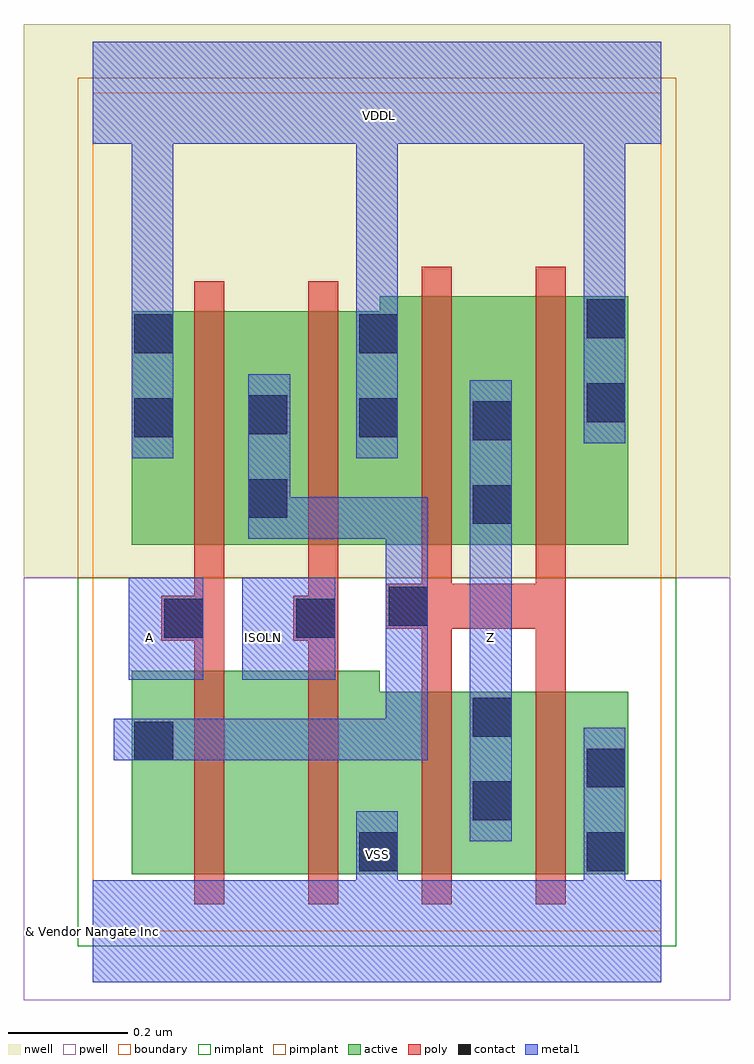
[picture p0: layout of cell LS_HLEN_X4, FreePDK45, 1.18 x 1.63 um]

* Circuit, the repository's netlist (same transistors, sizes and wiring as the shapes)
* 
* ******************************************************************************
* *                                                                            *
* *                   Copyright (C) 2004-2011, Nangate Inc.                    *
* *                           All rights reserved.                             *
* *                                                                            *
* * Nangate and the Nangate logo are trademarks of Nangate Inc.                *
* *                                                                            *
* * All trademarks, logos, software marks, and trade names (collectively the   *
* * "Marks") in this program are proprietary to Nangate or other respective    *
* * owners that have granted Nangate the right and license to use such Marks.  *
* * You are not permitted to use the Marks without the prior written consent   *
* * of Nangate or such third party that may own the Marks.                     *
* *                                                                            *
* * This file has been provided pursuant to a License Agreement containing     *
* * restrictions on its use. This file contains valuable trade secrets and     *
* * proprietary information of Nangate Inc., and is protected by U.S. and      *
* * international laws and/or treaties.                                        *
* *                                                                            *
* * The copyright notice(s) in this file does not indicate actual or intended  *
* * publication of this file.                                                  *
* *                                                                            *
* *     NGLibraryCreator, v2010.08-HR32-SP3-2010-08-05 - build 1009061800      *
* *                                                                            *
* ******************************************************************************
* 
* 
* Running on server08.nangate.com for user Giancarlo Franciscatto (gfr).
* Local time is now Thu, 6 Jan 2011, 19:45:47.
* Main process id is 3320.
*
********************************************************************************
*                                                                              *
* Cellname:   LS_HLEN_X4.                                                      *
*                                                                              *
* Technology: NCSU FreePDK 45nm.                                               *
* Format:     Cdl.                                                             *
*                                                                              *
* Written on server08.nangate.com for user Giancarlo Franciscatto (gfr)        *
* at 19:45:47 on Thu, 6 Jan 2011.                                              *
*                                                                              *
********************************************************************************
.SUBCKT LS_HLEN_X4 A ISOLN Z VDDL VSS
*.PININFO A:I ISOLN:I Z:O VDDL:P VSS:G
*.EQN Z=(A * ISOLN)
M_i_0 net_001 A net_000 VSS NMOS_VTL W=0.340000U L=0.050000U
M_i_5 VSS ISOLN net_001 VSS NMOS_VTL W=0.340000U L=0.050000U
M_i_11 Z net_000 VSS VSS NMOS_VTL W=0.305000U L=0.050000U
M_i_17 VSS net_000 Z VSS NMOS_VTL W=0.305000U L=0.050000U
M_i_23 net_000 A VDDL VDDL PMOS_VTL W=0.390000U L=0.050000U
M_i_30 VDDL ISOLN net_000 VDDL PMOS_VTL W=0.390000U L=0.050000U
M_i_36 Z net_000 VDDL VDDL PMOS_VTL W=0.415000U L=0.050000U
M_i_42 VDDL net_000 Z VDDL PMOS_VTL W=0.415000U L=0.050000U
.ENDS 

********************************************************************************
*
* END
*
********************************************************************************

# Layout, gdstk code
import gdstk
lib = gdstk.Library(unit=1e-6, precision=1e-10)
def R(c, l, rs):  # rectangles x0, y0, x1, y1
    for r in rs: c.add(gdstk.rectangle(r[:2], r[2:], *l))
def P(c, l, *ps):  # polygons
    for p in ps: c.add(gdstk.Polygon(p, *l))
active = (1, 0)
pwell = (2, 0)
nwell = (3, 0)
nimplant = (4, 0)
pimplant = (5, 0)
poly = (9, 0)
contact = (10, 0)
metal1 = (11, 0)
boundary = (235, 0)

ls_hlen_x4 = lib.new_cell('LS_HLEN_X4')
P(ls_hlen_x4, active, [(0.065,0.095),(0.895,0.095),(0.895,0.4),(0.48,0.4),(0.48,0.435),(0.065,0.435)],
  [(0.065,0.645),(0.895,0.645),(0.895,1.06),(0.48,1.06),(0.48,1.035),(0.065,1.035)])
R(ls_hlen_x4, pwell, [(-0.115,-0.115,1.065,0.59)])
R(ls_hlen_x4, nwell, [(-0.115,0.59,1.065,1.515)])
R(ls_hlen_x4, nimplant, [(-0.025,-0.025,0.975,0.59)])
R(ls_hlen_x4, pimplant, [(-0.025,0.59,0.975,1.425)])
P(ls_hlen_x4, poly, [(0.115,0.485),(0.17,0.485),(0.17,0.045),(0.22,0.045),(0.22,1.085),(0.17,1.085),(0.17,0.56),(0.115,0.56)],
  [(0.335,0.485),(0.36,0.485),(0.36,0.045),(0.41,0.045),(0.41,1.085),(0.36,1.085),(0.36,0.56),(0.335,0.56)],
  [(0.49,0.505),(0.55,0.505),(0.55,0.045),(0.6,0.045),(0.6,0.505),(0.74,0.505),(0.74,0.045),(0.79,0.045),(0.79,1.11),(0.74,1.11),(0.74,0.58),(0.6,0.58),(0.6,1.11),(0.55,1.11),(0.55,0.58),(0.49,0.58)])
R(ls_hlen_x4, contact, [(0.445,0.1,0.51,0.165), (0.825,0.1,0.89,0.165), (0.635,0.185,0.7,0.25), (0.825,0.24,0.89,0.305), (0.07,0.285,0.135,0.35), (0.635,0.325,0.7,0.39), (0.12,0.49,0.185,0.555), (0.34,0.49,0.405,0.555), (0.495,0.51,0.56,0.575), (0.635,0.68,0.7,0.745), (0.26,0.69,0.325,0.755), (0.635,0.82,0.7,0.885), (0.07,0.825,0.135,0.89), (0.445,0.825,0.51,0.89), (0.26,0.83,0.325,0.895), (0.825,0.85,0.89,0.915), (0.07,0.965,0.135,1.03), (0.445,0.965,0.51,1.03), (0.825,0.99,0.89,1.055)])
R(ls_hlen_x4, metal1, [(0.63,0.15,0.7,0.92), (0.06,0.42,0.185,0.59), (0.25,0.42,0.405,0.59)])
P(ls_hlen_x4, metal1, [(0,-0.085),(0.95,-0.085),(0.95,0.085),(0.89,0.085),(0.89,0.34),(0.82,0.34),(0.82,0.085),(0.51,0.085),(0.51,0.2),(0.44,0.2),(0.44,0.085),(0,0.085)],
  [(0,1.315),(0.065,1.315),(0.065,0.79),(0.135,0.79),(0.135,1.315),(0.44,1.315),(0.44,0.79),(0.51,0.79),(0.51,1.315),(0.82,1.315),(0.82,0.815),(0.89,0.815),(0.89,1.315),(0.95,1.315),(0.95,1.485),(0,1.485)],
  [(0.26,0.655),(0.49,0.655),(0.49,0.355),(0.035,0.355),(0.035,0.285),(0.56,0.285),(0.56,0.725),(0.33,0.725),(0.33,0.93),(0.26,0.93)])
R(ls_hlen_x4, boundary, [(0,0,0.95,1.4)])
ls_hlen_x4.add(gdstk.Label('A', (0.095,0.49), layer=11, texttype=0))
ls_hlen_x4.add(gdstk.Label('VDDL', (0.48,1.3625), layer=11, texttype=0))
ls_hlen_x4.add(gdstk.Label('VSS', (0.475,0.1275), layer=11, texttype=0))
ls_hlen_x4.add(gdstk.Label('Z', (0.665,0.49), layer=11, texttype=0))
ls_hlen_x4.add(gdstk.Label('ISOLN', (0.285,0.49), layer=11, texttype=0))
ls_hlen_x4.add(gdstk.Label('& Vendor Nangate Inc', (0,0), layer=63, texttype=63))
ls_hlen_x4.add(gdstk.Label('& Product Open Cell Library', (0,0), layer=63, texttype=63))
ls_hlen_x4.add(gdstk.Label('& Version 2010_12', (0,0), layer=63, texttype=63))
ls_hlen_x4.add(gdstk.Label('& Instance LS_HLEN_X4', (0,0), layer=63, texttype=63))

lib.write_gds('LS_HLEN_X4.gds')
